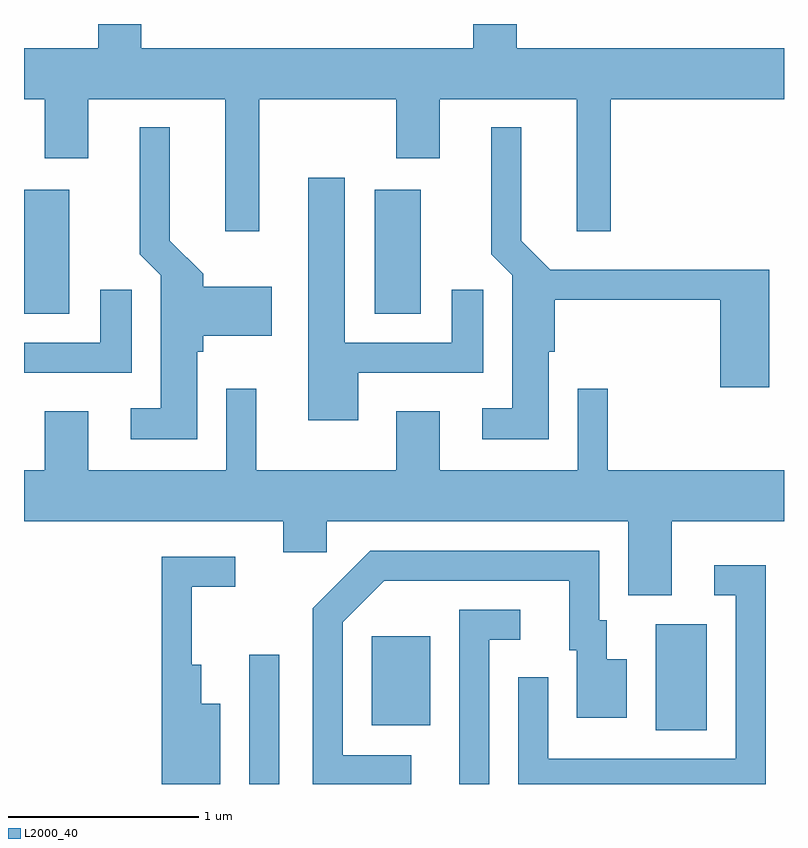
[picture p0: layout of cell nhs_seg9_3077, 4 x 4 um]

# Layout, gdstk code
import gdstk
lib = gdstk.Library(unit=1e-6, precision=1e-09)
def R(c, l, rs):  # rectangles x0, y0, x1, y1
    for r in rs: c.add(gdstk.rectangle(r[:2], r[2:], *l))
def P(c, l, *ps):  # polygons
    for p in ps: c.add(gdstk.Polygon(p, *l))
L2000_40 = (2000, 40)

nhs_seg9_3077 = lib.new_cell('nhs_seg9_3077')
R(nhs_seg9_3077, L2000_40, [(276.796,1990.432,276.954,1991.113), (278.936,1990.716,279.204,1991.274), (277.441,1990.741,277.749,1991.209), (275.611,1992.906,275.849,1993.559), (277.456,1992.906,277.699,1993.559)])
P(nhs_seg9_3077, L2000_40, [(276.849,1994.036),(277.571,1994.036),(277.571,1993.726),(277.799,1993.726),(277.799,1994.036),(278.521,1994.036),(278.521,1993.341),(278.699,1993.341),(278.699,1994.036),(279.611,1994.036),(279.611,1994.304),(278.204,1994.304),(278.204,1994.432),(277.976,1994.432),(277.976,1994.304),(276.229,1994.304),(276.229,1994.432),(276.001,1994.432),(276.001,1994.304),(275.611,1994.304),(275.611,1994.036),(275.721,1994.036),(275.721,1993.726),(275.949,1993.726),(275.949,1994.036),(276.671,1994.036),(276.671,1993.341),(276.849,1993.341)],
  [(276.524,1992.706),(276.554,1992.706),(276.554,1992.791),(276.914,1992.791),(276.914,1993.049),(276.554,1993.049),(276.554,1993.117),(276.379,1993.292),(276.379,1993.888),(276.221,1993.888),(276.221,1993.219),(276.331,1993.109),(276.331,1992.409),(276.173,1992.409),(276.173,1992.246),(276.524,1992.246)],
  [(278.374,1992.706),(278.404,1992.706),(278.404,1992.981),(279.276,1992.981),(279.276,1992.521),(279.534,1992.521),(279.534,1993.139),(278.382,1993.139),(278.229,1993.292),(278.229,1993.888),(278.071,1993.888),(278.071,1993.219),(278.181,1993.109),(278.181,1992.409),(278.023,1992.409),(278.023,1992.246),(278.374,1992.246)],
  [(277.369,1992.596),(278.029,1992.596),(278.029,1993.033),(277.861,1993.033),(277.861,1992.754),(277.299,1992.754),(277.299,1993.624),(277.106,1993.624),(277.106,1992.346),(277.369,1992.346)],
  [(276.179,1993.033),(276.011,1993.033),(276.011,1992.754),(275.611,1992.754),(275.611,1992.596),(276.179,1992.596)],
  [(279.019,1991.816),(279.611,1991.816),(279.611,1992.084),(278.684,1992.084),(278.684,1992.513),(278.526,1992.513),(278.526,1992.084),(277.799,1992.084),(277.799,1992.394),(277.571,1992.394),(277.571,1992.084),(276.834,1992.084),(276.834,1992.513),(276.676,1992.513),(276.676,1992.084),(275.949,1992.084),(275.949,1992.394),(275.721,1992.394),(275.721,1992.084),(275.611,1992.084),(275.611,1991.816),(276.976,1991.816),(276.976,1991.651),(277.204,1991.651),(277.204,1991.816),(278.791,1991.816),(278.791,1991.426),(279.019,1991.426)],
  [(277.648,1990.584),(277.289,1990.584),(277.289,1991.284),(277.507,1991.501),(278.481,1991.501),(278.481,1991.136),(278.521,1991.136),(278.521,1990.781),(278.784,1990.781),(278.784,1991.089),(278.679,1991.089),(278.679,1991.294),(278.639,1991.294),(278.639,1991.659),(277.434,1991.659),(277.131,1991.357),(277.131,1990.432),(277.648,1990.432)],
  [(276.644,1990.854),(276.544,1990.854),(276.544,1991.059),(276.494,1991.059),(276.494,1991.471),(276.723,1991.471),(276.723,1991.629),(276.336,1991.629),(276.336,1990.432),(276.644,1990.432)],
  [(279.514,1991.584),(279.243,1991.584),(279.243,1991.426),(279.356,1991.426),(279.356,1990.564),(278.369,1990.564),(278.369,1990.993),(278.211,1990.993),(278.211,1990.432),(279.514,1990.432)],
  [(278.059,1991.191),(278.223,1991.191),(278.223,1991.349),(277.901,1991.349),(277.901,1990.432),(278.059,1990.432)])

lib.write_gds('nhs_seg9_3077.gds')
